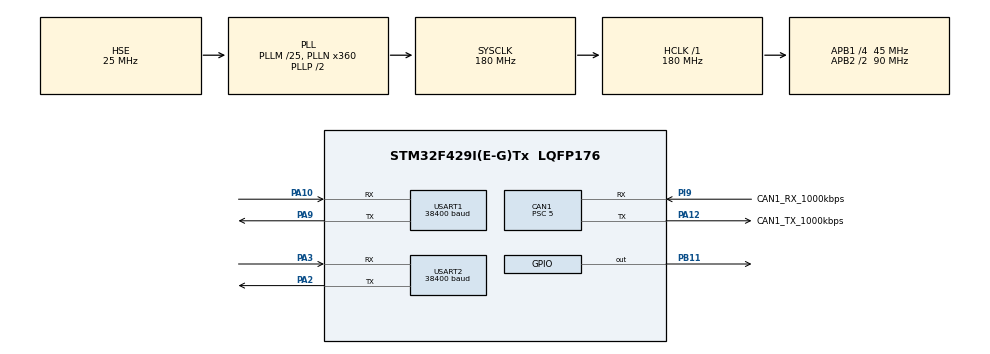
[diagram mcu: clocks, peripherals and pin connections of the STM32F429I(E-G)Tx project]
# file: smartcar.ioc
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CAN1.BS1=CAN_BS1_5TQ
CAN1.BS2=CAN_BS2_3TQ
CAN1.CalculateTimeBit=1000
CAN1.CalculateTimeQuantum=111.11111111111111
CAN1.Prescaler=5
CAN1.SJW=CAN_SJW_2TQ
Mcu.Family=STM32F4
Mcu.Name=STM32F429I(E-G)Tx
Mcu.Package=LQFP176
NVIC.CAN1_RX0_IRQn=true\:0\:0\:false\:false\:true\:true
NVIC.CAN1_RX1_IRQn=true\:0\:0\:false\:false\:true\:true
NVIC.CAN1_SCE_IRQn=true\:0\:0\:false\:false\:true\:true
NVIC.CAN1_TX_IRQn=true\:0\:0\:false\:false\:true\:true
NVIC.PriorityGroup=NVIC_PRIORITYGROUP_4
NVIC.USART1_IRQn=true\:0\:0\:false\:false\:true\:true
NVIC.USART2_IRQn=true\:0\:0\:false\:false\:true\:true
PA10.Mode=Asynchronous
PA10.Signal=USART1_RX
PA12.GPIO_Label=CAN1_TX_1000kbps
PA12.GPIO_PuPd=GPIO_NOPULL
PA12.Mode=Master
PA12.Signal=CAN1_TX
PA13.Mode=Serial_Wire
PA13.Signal=SYS_JTMS-SWDIO
PA14.Mode=Serial_Wire
PA14.Signal=SYS_JTCK-SWCLK
PA2.Mode=Asynchronous
PA2.Signal=USART2_TX
PA3.Mode=Asynchronous
PA3.Signal=USART2_RX
PA9.Mode=Asynchronous
PA9.Signal=USART1_TX
PB11.GPIO_PuPd=GPIO_PULLUP
PB11.GPIO_Speed=GPIO_SPEED_FREQ_MEDIUM
PB11.PinState=GPIO_PIN_SET
PB11.Signal=GPIO_Output
PC14/OSC32_IN.Mode=LSE-External-Oscillator
PC14/OSC32_IN.Signal=RCC_OSC32_IN
PC15/OSC32_OUT.Mode=LSE-External-Oscillator
PC15/OSC32_OUT.Signal=RCC_OSC32_OUT
PH0/OSC_IN.Mode=HSE-External-Oscillator
PH0/OSC_IN.Signal=RCC_OSC_IN
PH1/OSC_OUT.Mode=HSE-External-Oscillator
PH1/OSC_OUT.Signal=RCC_OSC_OUT
PI9.GPIO_Label=CAN1_RX_1000kbps
PI9.Mode=Master
PI9.Signal=CAN1_RX
ProjectManager.HeapSize=0x200
ProjectManager.StackSize=0x400
ProjectManager.TargetToolchain=MDK-ARM V5
RCC.48MHZClocksFreq_Value=90000000
RCC.AHBFreq_Value=180000000
RCC.APB1CLKDivider=RCC_HCLK_DIV4
RCC.APB1Freq_Value=45000000
RCC.APB1TimFreq_Value=90000000
RCC.APB2CLKDivider=RCC_HCLK_DIV2
RCC.APB2Freq_Value=90000000
RCC.APB2TimFreq_Value=180000000
RCC.CortexFreq_Value=180000000
RCC.HCLKFreq_Value=180000000
RCC.HSE_VALUE=25000000
RCC.HSI_VALUE=16000000
RCC.PLLM=25
RCC.PLLN=360
RCC.PLLSourceVirtual=RCC_PLLSOURCE_HSE
RCC.SYSCLKFreq_VALUE=180000000
RCC.SYSCLKSource=RCC_SYSCLKSOURCE_PLLCLK
RCC.VCOOutputFreq_Value=360000000
USART1.BaudRate=38400
USART1.VirtualMode=VM_ASYNC
USART2.BaudRate=38400
USART2.VirtualMode=VM_ASYNC
board=smartcar

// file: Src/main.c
/**
  ******************************************************************************
  * File Name          : main.c
  * Description        : Main program body
  ******************************************************************************
  ** This notice applies to any and all portions of this file
  * that are not between comment pairs USER CODE BEGIN and
  * USER CODE END. Other portions of this file, whether
  * inserted by the user or by software development tools
  * are owned by their respective copyright owners.
  *
  * COPYRIGHT(c) 2018 STMicroelectronics
  *
  * Redistribution and use in source and binary forms, with or without modification,
  * are permitted provided that the following conditions are met:
  *   1. Redistributions of source code must retain the above copyright notice,
  *      this list of conditions and the following disclaimer.
  *   2. Redistributions in binary form must reproduce the above copyright notice,
  *      this list of conditions and the following disclaimer in the documentation
  *      and/or other materials provided with the distribution.
  *   3. Neither the name of STMicroelectronics nor the names of its contributors
  *      may be used to endorse or promote products derived from this software
  *      without specific prior written permission.
  *
  * THIS SOFTWARE IS PROVIDED BY THE COPYRIGHT HOLDERS AND CONTRIBUTORS "AS IS"
  * AND ANY EXPRESS OR IMPLIED WARRANTIES, INCLUDING, BUT NOT LIMITED TO, THE
  * IMPLIED WARRANTIES OF MERCHANTABILITY AND FITNESS FOR A PARTICULAR PURPOSE ARE
  * DISCLAIMED. IN NO EVENT SHALL THE COPYRIGHT HOLDER OR CONTRIBUTORS BE LIABLE
  * FOR ANY DIRECT, INDIRECT, INCIDENTAL, SPECIAL, EXEMPLARY, OR CONSEQUENTIAL
  * DAMAGES (INCLUDING, BUT NOT LIMITED TO, PROCUREMENT OF SUBSTITUTE GOODS OR
  * SERVICES; LOSS OF USE, DATA, OR PROFITS; OR BUSINESS INTERRUPTION) HOWEVER
  * CAUSED AND ON ANY THEORY OF LIABILITY, WHETHER IN CONTRACT, STRICT LIABILITY,
  * OR TORT (INCLUDING NEGLIGENCE OR OTHERWISE) ARISING IN ANY WAY OUT OF THE USE
  * OF THIS SOFTWARE, EVEN IF ADVISED OF THE POSSIBILITY OF SUCH DAMAGE.
  *
  ******************************************************************************
  */

#include "main.h"
#include "stm32f4xx_hal.h"
#include "can.h"
#include "usart.h"
#include "gpio.h"

/* USER CODE BEGIN PV */
/* Private variables ---------------------------------------------------------*/

	PID pid =
{
	10000,	//输出限幅
	1.5,	//目标控制量(distance[m])
	0,	//反馈控制量(distance[m])

	100,	//Kp
	0.5,	//Ki
	0.1,	//Kd

	0, 0, 0	//e
};

int Temp_PWM = 5000;
char direct;
float MIN_LIMIT = 0;
float MAX_LIMIT = 10000;

/* USER CODE END PV */

void SystemClock_Config(void);

/* USER CODE BEGIN PFP */
/* Private function prototypes -----------------------------------------------*/

/* USER CODE END PFP */

int main(void)
{

  /* USER CODE BEGIN 1 */
	short temp_velocity = 0;
  /* USER CODE END 1 */

  /* MCU Configuration----------------------------------------------------------*/

  /* Reset of all peripherals, Initializes the Flash interface and the Systick. */
  HAL_Init();

  /* USER CODE BEGIN Init */
	HAL_Delay(10000);
  /* USER CODE END Init */

  /* Configure the system clock */
  SystemClock_Config();

  /* Initialize all configured peripherals */
  MX_GPIO_Init();
  MX_CAN1_Init();
  MX_USART1_UART_Init();
  MX_USART2_UART_Init();

  /* USER CODE BEGIN 2 */
	delay_ms(500);                                      //刚开始要有足够的延时，确保驱动器已经初始化完成
  CAN_RoboModule_DRV_Reset(0,0);                      //对0组所有驱动器进行复位

  delay_ms(500);                                      //发送复位指令后的延时必须要有，等待驱动器再次初始化完成

  CAN_RoboModule_DRV_Config(0,1,100,0);               //1号驱动器配置为100ms传回一次数据
  delay_us(200);                                      //此处延时为了不让传回数据时候4个不一起传
  CAN_RoboModule_DRV_Config(0,2,100,0);               //2号驱动器配置为100ms传回一次数据
  delay_us(200);                                      //此处延时为了不让传回数据时候4个不一起传
  CAN_RoboModule_DRV_Config(0,3,100,0);               //3号驱动器配置为100ms传回一次数据
  delay_us(200);                                      //此处延时为了不让传回数据时候4个不一起传
  CAN_RoboModule_DRV_Config(0,4,100,0);               //3号驱动器配置为100ms传回一次数据

  CAN_RoboModule_DRV_Mode_Choice(0,0,Velocity_Mode);  //0组的所有驱动器 都进入速度模式
  delay_ms(500);                                      //发送模式选择指令后，要等待驱动器进入模式就绪。所以延时也不可以去掉。

  temp_velocity = 0;
  /* USER CODE END 2 */

  /* Infinite loop */
  while (1)
  {

  /* USER CODE BEGIN 3 */
		break;
  }

	temp_velocity = 5000;

	while(1)
	{
			delay_ms(300);
			CAN_Go_front_back(5000,temp_velocity);
			temp_velocity -= 500;
			if(temp_velocity<0)
			{
				break;
			}
	}

	temp_velocity = 5000;
	while(1)
	{
			delay_ms(300);
			CAN_Go_front_back(5000,-temp_velocity);
			temp_velocity-=500;
			if(temp_velocity<0)
			{
				break;
			}
	}

	temp_velocity = 5000;
	while(1)
	{
			delay_ms(300);
			CAN_Go_left_right(5000,temp_velocity);
			temp_velocity-=500;
			if(temp_velocity<0)
			{
				break;
			}
	}

	temp_velocity = 5000;
	while(1)
	{
			delay_ms(300);
			CAN_Go_left_right(5000,-temp_velocity);
			temp_velocity-=500;
			if(temp_velocity<0)
			{
				break;
			}
	}

	temp_velocity = 5000;
	while(1)
	{
			delay_ms(300);
			CAN_deflect_left_right(5000,temp_velocity);
			temp_velocity-=500;
			if(temp_velocity<0)
			{
				break;
			}
	}

	temp_velocity = 5000;
	while(1)
	{
			delay_ms(300);
			CAN_deflect_left_right(5000,-temp_velocity);
			temp_velocity-=500;
			if(temp_velocity<0)
			{
				break;
			}
	}

  temp_velocity = 0;
  CAN_RoboModule_DRV_Velocity_Mode(0,0,5000,temp_velocity);

	/*
	while(1)
	{
		dis_v(distance,'w',*pid,Temp_PWM);
	}
	*/

  /* USER CODE END 3 */

}

/** System Clock Configuration
*/
void SystemClock_Config(void)
{

  RCC_OscInitTypeDef RCC_OscInitStruct;
  RCC_ClkInitTypeDef RCC_ClkInitStruct;

    /**Configure the main internal regulator output voltage
    */
  __HAL_RCC_PWR_CLK_ENABLE();

  __HAL_PWR_VOLTAGESCALING_CONFIG(PWR_REGULATOR_VOLTAGE_SCALE1);

    /**Initializes the CPU, AHB and APB busses clocks
    */
  RCC_OscInitStruct.OscillatorType = RCC_OSCILLATORTYPE_HSE;
  RCC_OscInitStruct.HSEState = RCC_HSE_ON;
  RCC_OscInitStruct.PLL.PLLState = RCC_PLL_ON;
  RCC_OscInitStruct.PLL.PLLSource = RCC_PLLSOURCE_HSE;
  RCC_OscInitStruct.PLL.PLLM = 25;
  RCC_OscInitStruct.PLL.PLLN = 360;
  RCC_OscInitStruct.PLL.PLLP = RCC_PLLP_DIV2;
  RCC_OscInitStruct.PLL.PLLQ = 4;
  if (HAL_RCC_OscConfig(&RCC_OscInitStruct) != HAL_OK)
  {
    _Error_Handler(__FILE__, __LINE__);
  }

    /**Activate the Over-Drive mode
    */
  if (HAL_PWREx_EnableOverDrive() != HAL_OK)
  {
    _Error_Handler(__FILE__, __LINE__);
  }

    /**Initializes the CPU, AHB and APB busses clocks
    */
  RCC_ClkInitStruct.ClockType = RCC_CLOCKTYPE_HCLK|RCC_CLOCKTYPE_SYSCLK
                              |RCC_CLOCKTYPE_PCLK1|RCC_CLOCKTYPE_PCLK2;
  RCC_ClkInitStruct.SYSCLKSource = RCC_SYSCLKSOURCE_PLLCLK;
  RCC_ClkInitStruct.AHBCLKDivider = RCC_SYSCLK_DIV1;
  RCC_ClkInitStruct.APB1CLKDivider = RCC_HCLK_DIV4;
  RCC_ClkInitStruct.APB2CLKDivider = RCC_HCLK_DIV2;

  if (HAL_RCC_ClockConfig(&RCC_ClkInitStruct, FLASH_LATENCY_5) != HAL_OK)
  {
    _Error_Handler(__FILE__, __LINE__);
  }

    /**Configure the Systick interrupt time
    */
  HAL_SYSTICK_Config(HAL_RCC_GetHCLKFreq()/1000);

    /**Configure the Systick
    */
  HAL_SYSTICK_CLKSourceConfig(SYSTICK_CLKSOURCE_HCLK);

  /* SysTick_IRQn interrupt configuration */
  HAL_NVIC_SetPriority(SysTick_IRQn, 0, 0);
}

/* USER CODE BEGIN 4 */
void dis_v(float distance,char direct,PID *pid,int Temp_PWM)
{
		float inc_val;
		float control_val=0;
		pid->feedback = distance;

		inc_val = pid_calc(pid);
		control_val += inc_val;
		control_val = range(control_val, MIN_LIMIT, MAX_LIMIT);
		CAN_movement(direct, Temp_PWM,(int)control_val);
}
/* USER CODE END 4 */

void _Error_Handler(char * file, int line)
{
  while(1)
  {
  }
}

/************************ (C) COPYRIGHT STMicroelectronics *****END OF FILE****/
